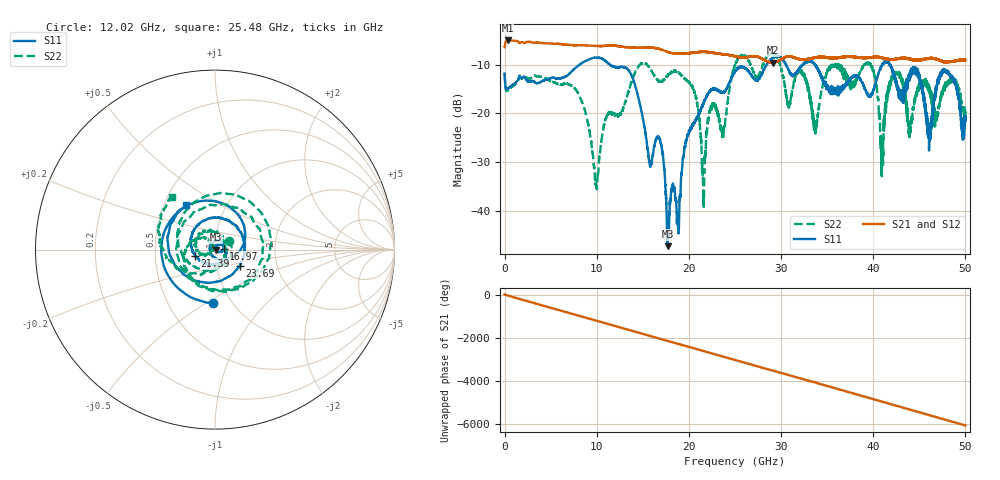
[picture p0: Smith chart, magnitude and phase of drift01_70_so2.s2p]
!Created with skrf (http://scikit-rf.org).
# Hz S RI R 50.0
!freq ReS11 ImS11 ReS21 ImS21 ReS12 ImS12 ReS22 ImS22
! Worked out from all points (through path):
!   10001 points, 300 kHz to 50 GHz, reference 50 ohm
!   highest |S21| = -5.05 dB at 315.3 MHz (marker M1); lowest = -9.6 dB at 29.12 GHz (marker M2)
!   group delay of S21, straight-line fit = 336 ps
!   lowest |S11| = -47.2 dB at 17.69 GHz (marker M3), VSWR 1.01, Z = 50.4 - j0.113 ohm
!   |S11| at or under -10 dB: start of sweep to 8.152 GHz; 11.42 GHz to 28.42 GHz (16.99 GHz wide, 85.3 % of centre); 41.84 GHz to end of sweep (the widest 3 of 14)
!   |S22| runs from -39.6 to -7.6 dB; largest |S21 - S12| = 0.015
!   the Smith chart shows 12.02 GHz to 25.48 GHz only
!   S11 on the Smith chart (normalised r, x): 12.02 GHz: 0.82, -0.54; 16.97 GHz: 1.10, +0.01; 21.39 GHz: 0.80, -0.06; 23.69 GHz: 1.30, -0.24; 25.48 GHz: 0.65, +0.35
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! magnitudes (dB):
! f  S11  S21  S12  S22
! 300 kHz  -11.8  -6.4  -6.5  -11.8
! 315.3 MHz  -14.9  -5.1  -5.1  -15.4
! 8.335 GHz  -9.7  -6.0  -6.0  -17.4
! 9.945 GHz  -8.6  -6.2  -6.2  -34.7
! 12.02 GHz  -10.5  -6.1  -6.1  -20.4
! 16.67 GHz  -24.7  -6.7  -6.7  -13.3
! 16.97 GHz  -26.2  -6.9  -6.9  -13.4
! 17.69 GHz  -47.2  -7.4  -7.4  -12.3
! 20.47 GHz  -22.2  -7.5  -7.5  -14.9
! 21.39 GHz  -18.7  -7.4  -7.4  -28.8
! 22.49 GHz  -15.0  -7.5  -7.5  -18.6
! 23.69 GHz  -15.6  -7.9  -7.9  -23.6
! 25 GHz  -11.4  -8.3  -8.3  -10.2
! 25.48 GHz  -10.6  -8.5  -8.5  -8.5
! 29.12 GHz  -8.6  -9.6  -9.6  -7.7
! 33.34 GHz  -9.5  -8.7  -8.7  -19.2
! 39.49 GHz  -16.3  -8.5  -8.6  -9.8
! 40.98 GHz  -9.9  -8.7  -8.6  -28.6
! 41.67 GHz  -9.6  -8.8  -9.0  -14.3
! 46.11 GHz  -23.8  -8.8  -8.8  -15.0
! 48.04 GHz  -11.8  -9.4  -9.4  -13.7
! 50 GHz  -21.4  -9.1  -9.1  -20.3
